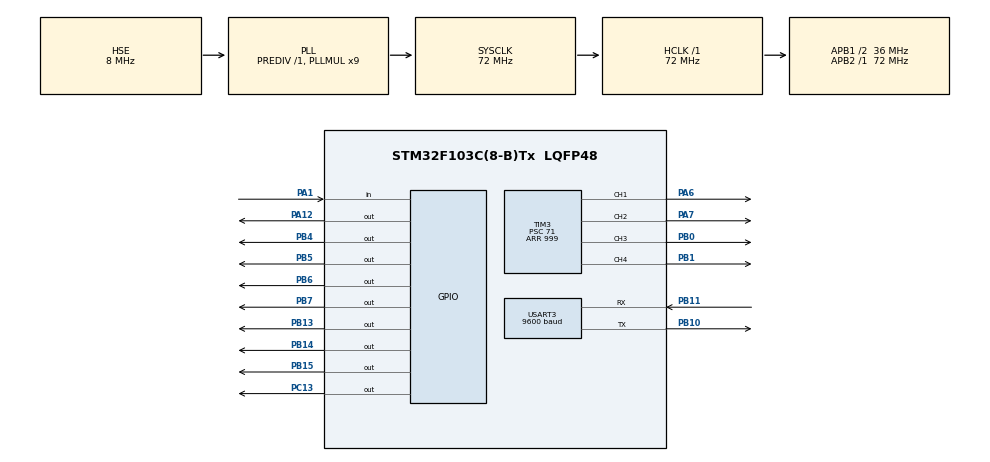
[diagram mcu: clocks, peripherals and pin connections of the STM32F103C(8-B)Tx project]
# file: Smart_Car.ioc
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Mcu.Family=STM32F1
Mcu.Name=STM32F103C(8-B)Tx
Mcu.Package=LQFP48
NVIC.PriorityGroup=NVIC_PRIORITYGROUP_4
NVIC.USART3_IRQn=true\:0\:0\:false\:false\:true\:true\:true\:true
PA1.Signal=GPIO_Input
PA12.Signal=GPIO_Output
PA13.Mode=Serial_Wire
PA13.Signal=SYS_JTMS-SWDIO
PA14.Mode=Serial_Wire
PA14.Signal=SYS_JTCK-SWCLK
PA6.Signal=S_TIM3_CH1
PA7.Signal=S_TIM3_CH2
PB0.Signal=S_TIM3_CH3
PB1.Signal=S_TIM3_CH4
PB10.Mode=Asynchronous
PB10.Signal=USART3_TX
PB11.Mode=Asynchronous
PB11.Signal=USART3_RX
PB13.Signal=GPIO_Output
PB14.Signal=GPIO_Output
PB15.Signal=GPIO_Output
PB4.Signal=GPIO_Output
PB5.Signal=GPIO_Output
PB6.Signal=GPIO_Output
PB7.Signal=GPIO_Output
PC13-TAMPER-RTC.Signal=GPIO_Output
PD0-OSC_IN.Mode=HSE-External-Oscillator
PD0-OSC_IN.Signal=RCC_OSC_IN
PD1-OSC_OUT.Mode=HSE-External-Oscillator
PD1-OSC_OUT.Signal=RCC_OSC_OUT
ProjectManager.HeapSize=0x200
ProjectManager.StackSize=0x400
ProjectManager.TargetToolchain=MDK-ARM V5.32
RCC.AHBFreq_Value=72000000
RCC.APB1CLKDivider=RCC_HCLK_DIV2
RCC.APB1Freq_Value=36000000
RCC.APB1TimFreq_Value=72000000
RCC.APB2Freq_Value=72000000
RCC.APB2TimFreq_Value=72000000
RCC.HCLKFreq_Value=72000000
RCC.PLLMUL=RCC_PLL_MUL9
RCC.PLLSourceVirtual=RCC_PLLSOURCE_HSE
RCC.SYSCLKFreq_VALUE=72000000
RCC.SYSCLKSource=RCC_SYSCLKSOURCE_PLLCLK
RCC.USBFreq_Value=72000000
SH.S_TIM3_CH1.0=TIM3_CH1,PWM Generation1 CH1
SH.S_TIM3_CH2.0=TIM3_CH2,PWM Generation2 CH2
SH.S_TIM3_CH3.0=TIM3_CH3,PWM Generation3 CH3
SH.S_TIM3_CH4.0=TIM3_CH4,PWM Generation4 CH4
TIM3.AutoReloadPreload=TIM_AUTORELOAD_PRELOAD_ENABLE
TIM3.Channel-PWM\ Generation1\ CH1=TIM_CHANNEL_1
TIM3.Channel-PWM\ Generation2\ CH2=TIM_CHANNEL_2
TIM3.Channel-PWM\ Generation3\ CH3=TIM_CHANNEL_3
TIM3.Channel-PWM\ Generation4\ CH4=TIM_CHANNEL_4
TIM3.Period=999
TIM3.Prescaler=71
USART3.BaudRate=9600
USART3.VirtualMode=VM_ASYNC
board=custom

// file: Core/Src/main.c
/* USER CODE BEGIN Header */
/**
  ******************************************************************************
  * @file           : main.c
  * @brief          : Main program body
  ******************************************************************************
  * @attention
  *
  * Copyright (c) 2026 STMicroelectronics.
  * All rights reserved.
  *
  * This software is licensed under terms that can be found in the LICENSE file
  * in the root directory of this software component.
  * If no LICENSE file comes with this software, it is provided AS-IS.
  *
  ******************************************************************************
  */
/* USER CODE END Header */
#include "main.h"
#include "tim.h"
#include "usart.h"
#include "gpio.h"

/* USER CODE BEGIN Includes */
#include "motor.h"
#include "chassis.h"
/* USER CODE END Includes */

/* USER CODE BEGIN PV */
uint8_t rx_data; // 存放接收到的单个字符
/* USER CODE END PV */

void SystemClock_Config(void);

int main(void)
{

  /* MCU Configuration--------------------------------------------------------*/

  /* Reset of all peripherals, Initializes the Flash interface and the Systick. */
  HAL_Init();

  /* Configure the system clock */
  SystemClock_Config();

  /* Initialize all configured peripherals */
  MX_GPIO_Init();
  MX_TIM3_Init();
  MX_USART3_UART_Init();
  /* USER CODE BEGIN 2 */
Motor_Init();
HAL_UART_Receive_IT(&huart3, &rx_data, 1);// 开启蓝牙串口（USART3）接收
  /* USER CODE END 2 */

  /* Infinite loop */
  while (1)
  {

  }
}

void SystemClock_Config(void)
{
  RCC_OscInitTypeDef RCC_OscInitStruct = {0};
  RCC_ClkInitTypeDef RCC_ClkInitStruct = {0};

  /** Initializes the RCC Oscillators according to the specified parameters
  * in the RCC_OscInitTypeDef structure.
  */
  RCC_OscInitStruct.OscillatorType = RCC_OSCILLATORTYPE_HSE;
  RCC_OscInitStruct.HSEState = RCC_HSE_ON;
  RCC_OscInitStruct.HSEPredivValue = RCC_HSE_PREDIV_DIV1;
  RCC_OscInitStruct.HSIState = RCC_HSI_ON;
  RCC_OscInitStruct.PLL.PLLState = RCC_PLL_ON;
  RCC_OscInitStruct.PLL.PLLSource = RCC_PLLSOURCE_HSE;
  RCC_OscInitStruct.PLL.PLLMUL = RCC_PLL_MUL9;
  if (HAL_RCC_OscConfig(&RCC_OscInitStruct) != HAL_OK)
  {
    Error_Handler();
  }

  /** Initializes the CPU, AHB and APB buses clocks
  */
  RCC_ClkInitStruct.ClockType = RCC_CLOCKTYPE_HCLK|RCC_CLOCKTYPE_SYSCLK
                              |RCC_CLOCKTYPE_PCLK1|RCC_CLOCKTYPE_PCLK2;
  RCC_ClkInitStruct.SYSCLKSource = RCC_SYSCLKSOURCE_PLLCLK;
  RCC_ClkInitStruct.AHBCLKDivider = RCC_SYSCLK_DIV1;
  RCC_ClkInitStruct.APB1CLKDivider = RCC_HCLK_DIV2;
  RCC_ClkInitStruct.APB2CLKDivider = RCC_HCLK_DIV1;

  if (HAL_RCC_ClockConfig(&RCC_ClkInitStruct, FLASH_LATENCY_2) != HAL_OK)
  {
    Error_Handler();
  }
}

/* USER CODE BEGIN 4 */
void HAL_UART_RxCpltCallback(UART_HandleTypeDef *huart) {
    // 判断是不是蓝牙所在的串口触发了中断
    if(huart->Instance == USART3) {

        switch(rx_data) {
            case 'W': Car_Forward(600); break;     // 前进
            case 'S': Car_Backward(600); break;    // 后退

            case 'A': Car_StrafeLeft(500); break;  // 向左平移
            case 'D': Car_StrafeRight(500); break; // 向右平移

            case 'Q': Car_LeftCircle(500); break;  // 原地左转
            case 'E': Car_RightCircle(500); break; // 原地右转

            case 'w': Car_TurnLeftF(600); break;   // 向前左转
            case 's': Car_TurnRightF(600); break;  // 向前右转
            case 'a': Car_TurnLeftB(600); break;   // 向后左转
            case 'd': Car_TurnRightB(600); break;  // 向后右转

            case '1': Car_Forward(300); break;     // 慢速前进
            case '2': Car_Backward(300); break;    // 慢速倒车
            case '3': Car_LeftCircle(300); break;  // 原地左转微调
            case '4': Car_RightCircle(300); break; // 原地右转微调

            case 'X':
            case ' ': Car_Stop(); break;           // 'X' 或 空格 键刹车

            default: break;
        }

        //必须重新开启中断
        HAL_UART_Receive_IT(&huart3, &rx_data, 1);
    }
}
/* USER CODE END 4 */

void Error_Handler(void)
{
  __disable_irq();
  while (1)
  {
  }
}
